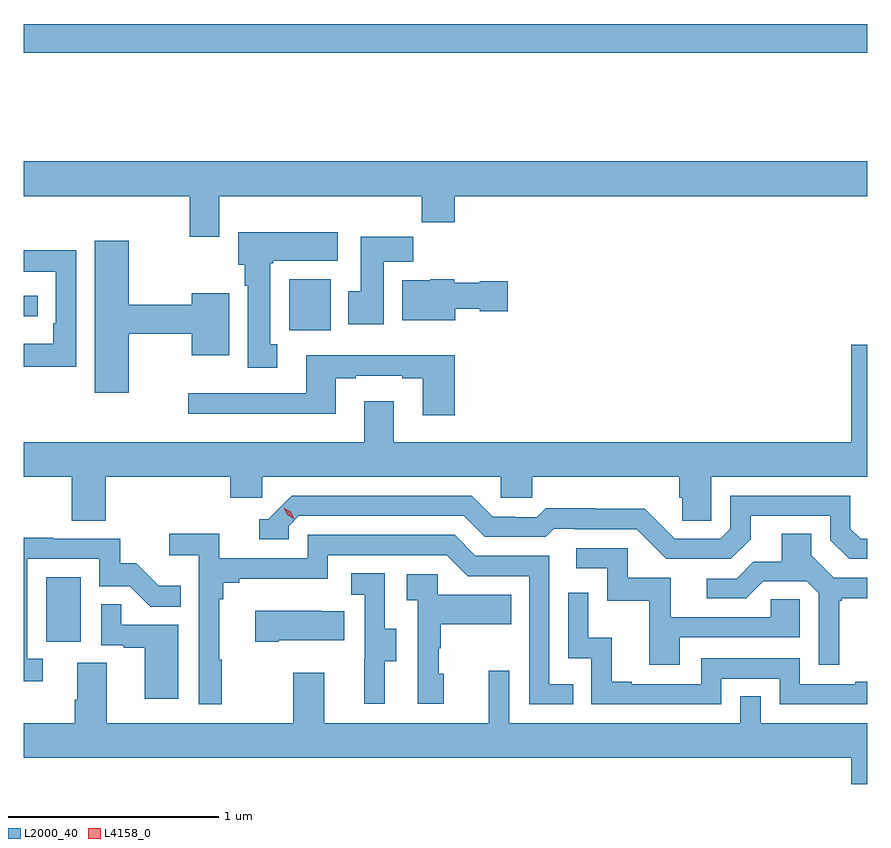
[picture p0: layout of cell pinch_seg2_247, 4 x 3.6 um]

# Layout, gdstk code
import gdstk
lib = gdstk.Library(unit=1e-6, precision=1e-09)
def R(c, l, rs):  # rectangles x0, y0, x1, y1
    for r in rs: c.add(gdstk.rectangle(r[:2], r[2:], *l))
def P(c, l, *ps):  # polygons
    for p in ps: c.add(gdstk.Polygon(p, *l))
L2000_40 = (2000, 40)
L4158_0 = (4158, 0)

pinch_seg2_247 = lib.new_cell('pinch_seg2_247')
R(pinch_seg2_247, L2000_40, [(945.428,660.174,945.592,660.481), (946.58,661.652,946.777,661.894), (945.322,661.719,945.388,661.815), (945.322,662.968,949.322,663.104)])
P(pinch_seg2_247, L2000_40, [(946.249,662.288),(947.209,662.288),(947.209,662.164),(947.366,662.164),(947.366,662.288),(949.322,662.288),(949.322,662.452),(945.322,662.452),(945.322,662.288),(946.109,662.288),(946.109,662.094),(946.249,662.094)],
  [(946.525,661.586),(946.492,661.586),(946.492,661.969),(946.506,661.969),(946.506,661.982),(946.81,661.982),(946.81,662.116),(946.34,662.116),(946.34,661.962),(946.37,661.962),(946.37,661.862),(946.385,661.862),(946.385,661.473),(946.525,661.473)],
  [(947.029,661.976),(947.168,661.976),(947.168,662.095),(946.919,662.095),(946.919,661.836),(946.862,661.836),(946.862,661.68),(947.029,661.68)],
  [(945.82,661.636),(946.118,661.636),(946.118,661.532),(946.297,661.532),(946.297,661.828),(946.118,661.828),(946.118,661.772),(945.82,661.772),(945.82,662.077),(945.659,662.077),(945.659,661.356),(945.82,661.356)],
  [(945.57,662.03),(945.322,662.03),(945.322,661.929),(945.474,661.929),(945.474,661.684),(945.461,661.684),(945.461,661.588),(945.322,661.588),(945.322,661.479),(945.57,661.479)],
  [(947.368,661.754),(947.484,661.754),(947.484,661.742),(947.617,661.742),(947.617,661.884),(947.484,661.884),(947.484,661.876),(947.364,661.876),(947.364,661.894),(947.25,661.894),(947.25,661.888),(947.117,661.888),(947.117,661.7),(947.368,661.7)],
  [(945.71,660.956),(946.301,660.956),(946.301,660.858),(946.452,660.858),(946.452,660.956),(947.583,660.956),(947.583,660.858),(947.733,660.858),(947.733,660.956),(948.431,660.956),(948.431,660.858),(948.445,660.858),(948.445,660.748),(948.582,660.748),(948.582,660.956),(949.322,660.956),(949.322,661.582),(949.247,661.582),(949.247,661.12),(947.077,661.12),(947.077,661.315),(946.937,661.315),(946.937,661.12),(945.322,661.12),(945.322,660.956),(945.55,660.956),(945.55,660.748),(945.71,660.748)],
  [(947.366,661.534),(946.661,661.534),(946.661,661.353),(946.101,661.353),(946.101,661.256),(946.801,661.256),(946.801,661.425),(946.897,661.425),(946.897,661.437),(947.117,661.437),(947.117,661.425),(947.213,661.425),(947.213,661.248),(947.366,661.248)],
  [(948.769,660.661),(948.769,660.771),(949.146,660.771),(949.146,660.657),(949.236,660.567),(949.322,660.567),(949.322,660.663),(949.29,660.663),(949.242,660.711),(949.242,660.867),(948.672,660.867),(948.672,660.711),(948.624,660.663),(948.408,660.663),(948.266,660.805),(948.03,660.805),(948.03,660.808),(947.797,660.808),(947.755,660.765),(947.652,660.765),(947.652,660.768),(947.545,660.768),(947.446,660.867),(946.593,660.867),(946.482,660.756),(946.439,660.756),(946.439,660.66),(946.578,660.66),(946.578,660.723),(946.626,660.771),(947.409,660.771),(947.508,660.672),(947.797,660.672),(947.836,660.711),(947.935,660.711),(947.935,660.708),(948.228,660.708),(948.369,660.567),(948.675,660.567)],
  [(949.189,660.369),(949.201,660.369),(949.201,660.38),(949.322,660.38),(949.322,660.477),(949.164,660.477),(949.057,660.584),(949.057,660.686),(948.917,660.686),(948.917,660.554),(948.782,660.554),(948.702,660.474),(948.561,660.474),(948.561,660.381),(948.748,660.381),(948.829,660.462),(949.035,660.462),(949.092,660.405),(949.092,660.066),(949.189,660.066)],
  [(946.261,660.089),(946.249,660.089),(946.249,660.377),(946.268,660.377),(946.268,660.454),(946.345,660.454),(946.345,660.473),(946.764,660.473),(946.764,660.585),(947.328,660.585),(947.427,660.486),(947.718,660.486),(947.718,659.877),(947.927,659.877),(947.927,659.973),(947.814,659.973),(947.814,660.582),(947.464,660.582),(947.365,660.681),(946.668,660.681),(946.668,660.57),(946.25,660.57),(946.25,660.686),(946.011,660.686),(946.011,660.584),(946.152,660.584),(946.152,659.877),(946.261,659.877)],
  [(945.412,660.093),(945.339,660.093),(945.339,660.567),(945.681,660.567),(945.681,660.438),(945.825,660.438),(945.923,660.34),(946.067,660.34),(946.067,660.439),(945.963,660.439),(945.856,660.546),(945.78,660.546),(945.78,660.663),(945.461,660.663),(945.461,660.668),(945.322,660.668),(945.322,659.988),(945.412,659.988)],
  [(948.433,660.195),(949.002,660.195),(949.002,660.375),(948.865,660.375),(948.865,660.291),(948.391,660.291),(948.391,660.477),(948.186,660.477),(948.186,660.618),(947.943,660.618),(947.943,660.522),(948.09,660.522),(948.09,660.369),(948.289,660.369),(948.289,660.066),(948.433,660.066)],
  [(947.035,660.082),(947.089,660.082),(947.089,660.237),(947.034,660.237),(947.034,660.5),(946.875,660.5),(946.875,660.397),(946.938,660.397),(946.938,660.093),(946.937,660.093),(946.937,659.88),(947.035,659.88)],
  [(947.314,660.024),(947.289,660.024),(947.289,660.143),(947.299,660.143),(947.299,660.257),(947.633,660.257),(947.633,660.397),(947.286,660.397),(947.286,660.495),(947.139,660.495),(947.139,660.371),(947.19,660.371),(947.19,659.88),(947.314,659.88)],
  [(948.63,660),(948.906,660),(948.906,659.877),(949.322,659.877),(949.322,659.986),(949.265,659.986),(949.265,659.973),(949.002,659.973),(949.002,660.096),(948.534,660.096),(948.534,659.973),(948.205,659.973),(948.205,659.986),(948.11,659.986),(948.11,660.194),(948,660.194),(948,660.406),(947.904,660.406),(947.904,660.096),(948.012,660.096),(948.012,659.877),(948.63,659.877)],
  [(946.054,660.255),(945.785,660.255),(945.785,660.353),(945.69,660.353),(945.69,660.159),(945.797,660.159),(945.797,660.147),(945.896,660.147),(945.896,659.904),(946.054,659.904)],
  [(946.531,660.182),(946.841,660.182),(946.841,660.319),(946.733,660.319),(946.733,660.322),(946.419,660.322),(946.419,660.175),(946.531,660.175)],
  [(949.322,659.788),(948.816,659.788),(948.816,659.915),(948.72,659.915),(948.72,659.788),(947.625,659.788),(947.625,660.037),(947.528,660.037),(947.528,659.788),(946.747,659.788),(946.747,660.028),(946.6,660.028),(946.6,659.788),(945.715,659.788),(945.715,660.074),(945.575,660.074),(945.575,659.9),(945.563,659.9),(945.563,659.788),(945.322,659.788),(945.322,659.624),(949.247,659.624),(949.247,659.5),(949.322,659.5)])
P(pinch_seg2_247, L4158_0, [(946.603,660.757),(946.572,660.777),(946.556,660.81),(946.556,660.81),(946.556,660.81),(946.587,660.79),(946.603,660.758),(946.603,660.757)])

lib.write_gds('pinch_seg2_247.gds')
